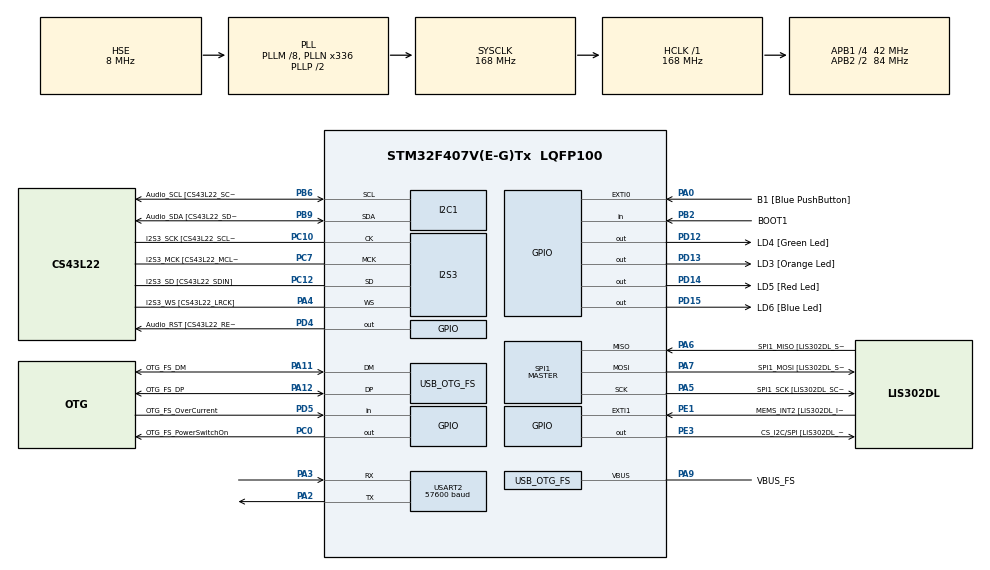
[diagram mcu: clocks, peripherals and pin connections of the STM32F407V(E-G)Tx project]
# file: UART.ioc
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I2S3.AudioFreq-Half_Duplex_Master=I2S_AUDIOFREQ_96K
I2S3.ErrorAudioFreq=-2.34 %
I2S3.ErrorAudioFreq-Half_Duplex_Master=0.8 %
I2S3.FullDuplexMode=I2S_FULLDUPLEXMODE_DISABLE
I2S3.Instance=SPI$Index
I2S3.RealAudioFreq=93.75 KHz
I2S3.RealAudioFreq-Half_Duplex_Master=96.774 KHz
I2S3.VirtualMode=I2S_MODE_MASTER
Mcu.Family=STM32F4
Mcu.Name=STM32F407V(E-G)Tx
Mcu.Package=LQFP100
NVIC.OTG_FS_IRQn=true\:0\:0\:false\:false\:true\:true\:true\:true
NVIC.PriorityGroup=NVIC_PRIORITYGROUP_0
NVIC.USART2_IRQn=true\:0\:0\:false\:false\:true\:true\:true\:true
PA0-WKUP.GPIO_Label=B1 [Blue PushButton]
PA0-WKUP.GPIO_ModeDefaultEXTI=GPIO_MODE_EVT_RISING
PA0-WKUP.GPIO_PuPd=GPIO_NOPULL
PA0-WKUP.Signal=GPXTI0
PA10.GPIO_Label=OTG_FS_ID
PA10.GPIO_Mode=GPIO_MODE_AF_PP
PA10.GPIO_PuPd=GPIO_NOPULL
PA10.GPIO_Speed=GPIO_SPEED_FREQ_LOW
PA10.Signal=USB_OTG_FS_ID
PA11.GPIO_Label=OTG_FS_DM
PA11.GPIO_Mode=GPIO_MODE_AF_PP
PA11.GPIO_PuPd=GPIO_NOPULL
PA11.GPIO_Speed=GPIO_SPEED_FREQ_LOW
PA11.Mode=Host_Only
PA11.Signal=USB_OTG_FS_DM
PA12.GPIO_Label=OTG_FS_DP
PA12.GPIO_Mode=GPIO_MODE_AF_PP
PA12.GPIO_PuPd=GPIO_NOPULL
PA12.GPIO_Speed=GPIO_SPEED_FREQ_LOW
PA12.Mode=Host_Only
PA12.Signal=USB_OTG_FS_DP
PA13.GPIO_Label=SWDIO
PA13.Mode=Serial_Wire
PA13.Signal=SYS_JTMS-SWDIO
PA14.GPIO_Label=SWCLK
PA14.Mode=Serial_Wire
PA14.Signal=SYS_JTCK-SWCLK
PA2.Mode=Asynchronous
PA2.Signal=USART2_TX
PA3.Mode=Asynchronous
PA3.Signal=USART2_RX
PA4.GPIO_Label=I2S3_WS [CS43L22_LRCK]
PA4.GPIO_Mode=GPIO_MODE_AF_PP
PA4.GPIO_PuPd=GPIO_NOPULL
PA4.GPIO_Speed=GPIO_SPEED_FREQ_LOW
PA4.Mode=Half_Duplex_Master
PA4.Signal=I2S3_WS
PA5.GPIO_Label=SPI1_SCK [LIS302DL_SCL/SPC]
PA5.GPIO_Mode=GPIO_MODE_AF_PP
PA5.GPIO_PuPd=GPIO_NOPULL
PA5.GPIO_Speed=GPIO_SPEED_FREQ_LOW
PA5.Mode=Full_Duplex_Master
PA5.Signal=SPI1_SCK
PA6.GPIO_Label=SPI1_MISO [LIS302DL_SDO]
PA6.GPIO_Mode=GPIO_MODE_AF_PP
PA6.GPIO_PuPd=GPIO_NOPULL
PA6.GPIO_Speed=GPIO_SPEED_FREQ_LOW
PA6.Mode=Full_Duplex_Master
PA6.Signal=SPI1_MISO
PA7.GPIO_Label=SPI1_MOSI [LIS302DL_SDA/SDI/SDO]
PA7.GPIO_Mode=GPIO_MODE_AF_PP
PA7.GPIO_PuPd=GPIO_NOPULL
PA7.GPIO_Speed=GPIO_SPEED_FREQ_LOW
PA7.Mode=Full_Duplex_Master
PA7.Signal=SPI1_MOSI
PA9.GPIO_Label=VBUS_FS
PA9.GPIO_Mode=GPIO_MODE_INPUT
PA9.GPIO_PuPd=GPIO_NOPULL
PA9.Mode=Activate_VBUS
PA9.Signal=USB_OTG_FS_VBUS
PB10.GPIO_Label=CLK_IN [MP45DT02_CLK]
PB10.GPIO_Mode=GPIO_MODE_AF_PP
PB10.GPIO_PuPd=GPIO_NOPULL
PB10.GPIO_Speed=GPIO_SPEED_FREQ_LOW
PB10.Signal=I2S2_CK
PB2.GPIO_Label=BOOT1
PB2.GPIO_Mode=GPIO_MODE_INPUT
PB2.GPIO_PuPd=GPIO_NOPULL
PB2.Signal=GPIO_Input
PB3.GPIO_Label=SWO
PB3.Signal=SYS_JTDO-SWO
PB6.GPIO_Label=Audio_SCL [CS43L22_SCL]
PB6.GPIO_Mode=GPIO_MODE_AF_OD
PB6.GPIO_Pu=GPIO_PULLUP
PB6.GPIO_PuPd=GPIO_NOPULL
PB6.GPIO_Speed=GPIO_SPEED_FREQ_LOW
PB6.Mode=I2C
PB6.Signal=I2C1_SCL
PB9.GPIO_Label=Audio_SDA [CS43L22_SDA]
PB9.GPIO_Mode=GPIO_MODE_AF_OD
PB9.GPIO_Pu=GPIO_PULLUP
PB9.GPIO_PuPd=GPIO_NOPULL
PB9.GPIO_Speed=GPIO_SPEED_FREQ_LOW
PB9.Mode=I2C
PB9.Signal=I2C1_SDA
PC0.GPIO_Label=OTG_FS_PowerSwitchOn
PC0.GPIO_PuPd=GPIO_NOPULL
PC0.GPIO_Speed=GPIO_SPEED_FREQ_LOW
PC0.PinState=GPIO_PIN_SET
PC0.Signal=GPIO_Output
PC10.GPIO_Label=I2S3_SCK [CS43L22_SCLK]
PC10.GPIO_Mode=GPIO_MODE_AF_PP
PC10.GPIO_PuPd=GPIO_NOPULL
PC10.GPIO_Speed=GPIO_SPEED_FREQ_LOW
PC10.Mode=Half_Duplex_Master
PC10.Signal=I2S3_CK
PC12.GPIO_Label=I2S3_SD [CS43L22_SDIN]
PC12.GPIO_Mode=GPIO_MODE_AF_PP
PC12.GPIO_PuPd=GPIO_NOPULL
PC12.GPIO_Speed=GPIO_SPEED_FREQ_LOW
PC12.Mode=Half_Duplex_Master
PC12.Signal=I2S3_SD
PC14-OSC32_IN.GPIO_Label=PC14-OSC32_IN
PC14-OSC32_IN.Mode=LSE-External-Oscillator
PC14-OSC32_IN.Signal=RCC_OSC32_IN
PC15-OSC32_OUT.GPIO_Label=PC15-OSC32_OUT
PC15-OSC32_OUT.Mode=LSE-External-Oscillator
PC15-OSC32_OUT.Signal=RCC_OSC32_OUT
PC3.GPIO_Label=PDM_OUT [MP45DT02_DOUT]
PC3.GPIO_Mode=GPIO_MODE_AF_PP
PC3.GPIO_PuPd=GPIO_NOPULL
PC3.GPIO_Speed=GPIO_SPEED_FREQ_LOW
PC3.Signal=I2S2_SD
PC7.GPIO_Label=I2S3_MCK [CS43L22_MCLK]
PC7.GPIO_Mode=GPIO_MODE_AF_PP
PC7.GPIO_PuPd=GPIO_NOPULL
PC7.GPIO_Speed=GPIO_SPEED_FREQ_LOW
PC7.Mode=Master_Clock_Activated
PC7.Signal=I2S3_MCK
PD12.GPIO_Label=LD4 [Green Led]
PD12.GPIO_PuPd=GPIO_NOPULL
PD12.GPIO_Speed=GPIO_SPEED_FREQ_LOW
PD12.Signal=GPIO_Output
PD13.GPIO_Label=LD3 [Orange Led]
PD13.GPIO_PuPd=GPIO_NOPULL
PD13.GPIO_Speed=GPIO_SPEED_FREQ_LOW
PD13.Signal=GPIO_Output
PD14.GPIO_Label=LD5 [Red Led]
PD14.GPIO_PuPd=GPIO_NOPULL
PD14.GPIO_Speed=GPIO_SPEED_FREQ_LOW
PD14.Signal=GPIO_Output
PD15.GPIO_Label=LD6 [Blue Led]
PD15.GPIO_PuPd=GPIO_NOPULL
PD15.GPIO_Speed=GPIO_SPEED_FREQ_LOW
PD15.Signal=GPIO_Output
PD4.GPIO_Label=Audio_RST [CS43L22_RESET]
PD4.GPIO_PuPd=GPIO_NOPULL
PD4.GPIO_Speed=GPIO_SPEED_FREQ_LOW
PD4.Signal=GPIO_Output
PD5.GPIO_Label=OTG_FS_OverCurrent
PD5.GPIO_Mode=GPIO_MODE_INPUT
PD5.GPIO_PuPd=GPIO_NOPULL
PD5.Signal=GPIO_Input
PE1.GPIO_Label=MEMS_INT2 [LIS302DL_INT2]
PE1.GPIO_ModeDefaultEXTI=GPIO_MODE_EVT_RISING
PE1.GPIO_PuPd=GPIO_NOPULL
PE1.Signal=GPXTI1
PE3.GPIO_Label=CS_I2C/SPI [LIS302DL_CS_I2C/SPI]
PE3.GPIO_PuPd=GPIO_NOPULL
PE3.GPIO_Speed=GPIO_SPEED_FREQ_LOW
PE3.Signal=GPIO_Output
PH0-OSC_IN.GPIO_Label=PH0-OSC_IN
PH0-OSC_IN.Mode=HSE-External-Oscillator
PH0-OSC_IN.Signal=RCC_OSC_IN
PH1-OSC_OUT.GPIO_Label=PH1-OSC_OUT
PH1-OSC_OUT.Mode=HSE-External-Oscillator
PH1-OSC_OUT.Signal=RCC_OSC_OUT
ProjectManager.HeapSize=0x200
ProjectManager.StackSize=0x400
ProjectManager.TargetToolchain=STM32CubeIDE
RCC.48MHZClocksFreq_Value=48000000
RCC.AHBFreq_Value=168000000
RCC.APB1CLKDivider=RCC_HCLK_DIV4
RCC.APB1Freq_Value=42000000
RCC.APB1TimFreq_Value=84000000
RCC.APB2CLKDivider=RCC_HCLK_DIV2
RCC.APB2Freq_Value=84000000
RCC.APB2TimFreq_Value=168000000
RCC.CortexFreq_Value=168000000
RCC.HCLKFreq_Value=168000000
RCC.HSE_VALUE=8000000
RCC.HSI_VALUE=16000000
RCC.PLLM=8
RCC.PLLN=336
RCC.PLLQ=7
RCC.SYSCLKFreq_VALUE=168000000
RCC.SYSCLKSource=RCC_SYSCLKSOURCE_PLLCLK
RCC.VCOOutputFreq_Value=336000000
SPI1.BaudRatePrescaler-Full_Duplex_Master=SPI_BAUDRATEPRESCALER_2
SPI1.CalculateBaudRate-Full_Duplex_Master=42.0 MBits/s
SPI1.Direction=SPI_DIRECTION_2LINES
SPI1.Mode=SPI_MODE_MASTER
SPI1.Mode-Full_Duplex_Master=SPI_MODE_MASTER
SPI1.VirtualType=VM_MASTER
USART2.BaudRate=57600
USART2.VirtualMode=VM_ASYNC
USB_HOST.BSP.number=1
USB_HOST.USBH_HandleTypeDef-CDC_FS=hUsbHostFS
USB_HOST.VirtualModeFS=Cdc
USB_HOST0.BSP.STBoard=false
USB_HOST0.BSP.api=Unknown
USB_HOST0.BSP.instance=PC0
USB_HOST0.BSP.ip=GPIO
USB_HOST0.BSP.mode=Output
USB_HOST0.BSP.name=Drive_VBUS_FS
USB_HOST0.BSP.solution=PC0
USB_OTG_FS.VirtualMode=Host_Only
USB_OTG_FS.phy_itface=HCD_PHY_EMBEDDED
VP_USB_HOST_VS_USB_HOST_CDC_FS.Mode=CDC_FS
board=STM32F407G-DISC1

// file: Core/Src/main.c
/* USER CODE BEGIN Header */
/**
  ******************************************************************************
  * @file           : main.c
  * @brief          : Main program body
  ******************************************************************************
  * @attention
  *
  * Copyright (c) 2025 STMicroelectronics.
  * All rights reserved.
  *
  * This software is licensed under terms that can be found in the LICENSE file
  * in the root directory of this software component.
  * If no LICENSE file comes with this software, it is provided AS-IS.
  *
  ******************************************************************************
  */
/* USER CODE END Header */

#include "main.h"
#include "usb_host.h"
#include "aes.h"
#include "SHA1.h"
#include "string.h"

/* USER CODE BEGIN PD */

uint8_t aes_key[16] = "BenimAESkey1234";

uint8_t mesajlar[3][16]={"FatihGizliVeri10","FatihGizliVeri20","GizliVeri300"};

uint8_t encrypted[16];

uint8_t decrypted[16];

uint8_t Transmit_Data[68];
uint8_t Receive_Data[68];

uint8_t sifreli_mesaj[48];
uint8_t sifresiz[48];

uint8_t output_hash[20];

uint8_t alinan_sifreli_mesaj[48];
uint8_t alinan_hash[20];
uint8_t cozulmus[48];
uint8_t hesaplanan_hash[20];

/* USER CODE END PD */

I2C_HandleTypeDef hi2c1;

I2S_HandleTypeDef hi2s3;

SPI_HandleTypeDef hspi1;

UART_HandleTypeDef huart2;

void SystemClock_Config(void);
static void MX_GPIO_Init(void);
static void MX_I2C1_Init(void);
static void MX_I2S3_Init(void);
static void MX_SPI1_Init(void);
static void MX_USART2_UART_Init(void);
void MX_USB_HOST_Process(void);

int main(void)
{

  /* MCU Configuration--------------------------------------------------------*/

  /* Reset of all peripherals, Initializes the Flash interface and the Systick. */
  HAL_Init();

  /* Configure the system clock */
  SystemClock_Config();

  /* Initialize all configured peripherals */
  MX_GPIO_Init();
  MX_I2C1_Init();
  MX_I2S3_Init();
  MX_SPI1_Init();
  MX_USB_HOST_Init();
  MX_USART2_UART_Init();
  /* USER CODE BEGIN 2 */

  // AES128

  struct AES_ctx ctx;
  AES_init_ctx(&ctx, aes_key);  // Key oluşturmamız lazım.

  for (int i = 0;  i < 3;  ++i)

  {
   // AES128
  	memcpy(encrypted, mesajlar[i], 16);
  	AES_ECB_encrypt(&ctx, encrypted);
  	memcpy(sifreli_mesaj + (16*i),encrypted,16);
	}

 // Veriyi Şifreliyoruz.
//  memcpy(encrypted, mesaj, 16);
//  AES_ECB_encrypt(&ctx, encrypted);
//
//  memcpy(decrypted, encrypted, 16);
//  AES_ECB_decrypt(&ctx, decrypted);

  // SHA1

  SHA_CTX atx;

  SHA1_Init(&atx);
  SHA1_Update(&atx, sifreli_mesaj, 48);
  SHA1_Final(output_hash, &atx);

  // UART İle gönderme
  memcpy(Transmit_Data,sifreli_mesaj,48);
  memcpy(Transmit_Data +48,output_hash,20); //68 byte Transmit Data
  HAL_UART_Transmit_IT(&huart2, Transmit_Data, 68);
  HAL_UART_Receive_IT(&huart2, Receive_Data, 68);

//  // Şifreyi Çözme
//   for (int i = 0;  i < 3;  ++i)
//
//   {
//    // AES128
//   	memcpy(decrypted, sifreli_mesaj + (16*i), 16);
//   	AES_ECB_decrypt(&ctx, decrypted);
//   	memcpy(sifresiz + (16*i),decrypted,16);
// 	}

//  HAL_UART_Transmit_IT(&huart2, Transmit_Data, 68);
//  HAL_UART_Transmit_IT(&huart2, sifreli_mesaj, 48);
//  HAL_UART_Transmit_IT(&huart2, output_hash, 20);
  /* USER CODE END 2 */

  /* Infinite loop */
  while (1)
  {
    MX_USB_HOST_Process();

  }
}

void SystemClock_Config(void)
{
  RCC_OscInitTypeDef RCC_OscInitStruct = {0};
  RCC_ClkInitTypeDef RCC_ClkInitStruct = {0};

  /** Configure the main internal regulator output voltage
  */
  __HAL_RCC_PWR_CLK_ENABLE();
  __HAL_PWR_VOLTAGESCALING_CONFIG(PWR_REGULATOR_VOLTAGE_SCALE1);

  /** Initializes the RCC Oscillators according to the specified parameters
  * in the RCC_OscInitTypeDef structure.
  */
  RCC_OscInitStruct.OscillatorType = RCC_OSCILLATORTYPE_HSE;
  RCC_OscInitStruct.HSEState = RCC_HSE_ON;
  RCC_OscInitStruct.PLL.PLLState = RCC_PLL_ON;
  RCC_OscInitStruct.PLL.PLLSource = RCC_PLLSOURCE_HSE;
  RCC_OscInitStruct.PLL.PLLM = 8;
  RCC_OscInitStruct.PLL.PLLN = 336;
  RCC_OscInitStruct.PLL.PLLP = RCC_PLLP_DIV2;
  RCC_OscInitStruct.PLL.PLLQ = 7;
  if (HAL_RCC_OscConfig(&RCC_OscInitStruct) != HAL_OK)
  {
    Error_Handler();
  }

  /** Initializes the CPU, AHB and APB buses clocks
  */
  RCC_ClkInitStruct.ClockType = RCC_CLOCKTYPE_HCLK|RCC_CLOCKTYPE_SYSCLK
                              |RCC_CLOCKTYPE_PCLK1|RCC_CLOCKTYPE_PCLK2;
  RCC_ClkInitStruct.SYSCLKSource = RCC_SYSCLKSOURCE_PLLCLK;
  RCC_ClkInitStruct.AHBCLKDivider = RCC_SYSCLK_DIV1;
  RCC_ClkInitStruct.APB1CLKDivider = RCC_HCLK_DIV4;
  RCC_ClkInitStruct.APB2CLKDivider = RCC_HCLK_DIV2;

  if (HAL_RCC_ClockConfig(&RCC_ClkInitStruct, FLASH_LATENCY_5) != HAL_OK)
  {
    Error_Handler();
  }
}

static void MX_I2C1_Init(void)
{

  hi2c1.Instance = I2C1;
  hi2c1.Init.ClockSpeed = 100000;
  hi2c1.Init.DutyCycle = I2C_DUTYCYCLE_2;
  hi2c1.Init.OwnAddress1 = 0;
  hi2c1.Init.AddressingMode = I2C_ADDRESSINGMODE_7BIT;
  hi2c1.Init.DualAddressMode = I2C_DUALADDRESS_DISABLE;
  hi2c1.Init.OwnAddress2 = 0;
  hi2c1.Init.GeneralCallMode = I2C_GENERALCALL_DISABLE;
  hi2c1.Init.NoStretchMode = I2C_NOSTRETCH_DISABLE;
  if (HAL_I2C_Init(&hi2c1) != HAL_OK)
  {
    Error_Handler();
  }

}

static void MX_I2S3_Init(void)
{

  hi2s3.Instance = SPI3;
  hi2s3.Init.Mode = I2S_MODE_MASTER_TX;
  hi2s3.Init.Standard = I2S_STANDARD_PHILIPS;
  hi2s3.Init.DataFormat = I2S_DATAFORMAT_16B;
  hi2s3.Init.MCLKOutput = I2S_MCLKOUTPUT_ENABLE;
  hi2s3.Init.AudioFreq = I2S_AUDIOFREQ_96K;
  hi2s3.Init.CPOL = I2S_CPOL_LOW;
  hi2s3.Init.ClockSource = I2S_CLOCK_PLL;
  hi2s3.Init.FullDuplexMode = I2S_FULLDUPLEXMODE_DISABLE;
  if (HAL_I2S_Init(&hi2s3) != HAL_OK)
  {
    Error_Handler();
  }

}

static void MX_SPI1_Init(void)
{

  /* SPI1 parameter configuration*/
  hspi1.Instance = SPI1;
  hspi1.Init.Mode = SPI_MODE_MASTER;
  hspi1.Init.Direction = SPI_DIRECTION_2LINES;
  hspi1.Init.DataSize = SPI_DATASIZE_8BIT;
  hspi1.Init.CLKPolarity = SPI_POLARITY_LOW;
  hspi1.Init.CLKPhase = SPI_PHASE_1EDGE;
  hspi1.Init.NSS = SPI_NSS_SOFT;
  hspi1.Init.BaudRatePrescaler = SPI_BAUDRATEPRESCALER_2;
  hspi1.Init.FirstBit = SPI_FIRSTBIT_MSB;
  hspi1.Init.TIMode = SPI_TIMODE_DISABLE;
  hspi1.Init.CRCCalculation = SPI_CRCCALCULATION_DISABLE;
  hspi1.Init.CRCPolynomial = 10;
  if (HAL_SPI_Init(&hspi1) != HAL_OK)
  {
    Error_Handler();
  }

}

static void MX_USART2_UART_Init(void)
{

  huart2.Instance = USART2;
  huart2.Init.BaudRate = 57600;
  huart2.Init.WordLength = UART_WORDLENGTH_8B;
  huart2.Init.StopBits = UART_STOPBITS_1;
  huart2.Init.Parity = UART_PARITY_NONE;
  huart2.Init.Mode = UART_MODE_TX_RX;
  huart2.Init.HwFlowCtl = UART_HWCONTROL_NONE;
  huart2.Init.OverSampling = UART_OVERSAMPLING_16;
  if (HAL_UART_Init(&huart2) != HAL_OK)
  {
    Error_Handler();
  }

}

static void MX_GPIO_Init(void)
{
  GPIO_InitTypeDef GPIO_InitStruct = {0};

  /* GPIO Ports Clock Enable */
  __HAL_RCC_GPIOE_CLK_ENABLE();
  __HAL_RCC_GPIOC_CLK_ENABLE();
  __HAL_RCC_GPIOH_CLK_ENABLE();
  __HAL_RCC_GPIOA_CLK_ENABLE();
  __HAL_RCC_GPIOB_CLK_ENABLE();
  __HAL_RCC_GPIOD_CLK_ENABLE();

  /*Configure GPIO pin Output Level */
  HAL_GPIO_WritePin(CS_I2C_SPI_GPIO_Port, CS_I2C_SPI_Pin, GPIO_PIN_RESET);

  /*Configure GPIO pin Output Level */
  HAL_GPIO_WritePin(OTG_FS_PowerSwitchOn_GPIO_Port, OTG_FS_PowerSwitchOn_Pin, GPIO_PIN_SET);

  /*Configure GPIO pin Output Level */
  HAL_GPIO_WritePin(GPIOD, LD4_Pin|LD3_Pin|LD5_Pin|LD6_Pin
                          |Audio_RST_Pin, GPIO_PIN_RESET);

  /*Configure GPIO pin : CS_I2C_SPI_Pin */
  GPIO_InitStruct.Pin = CS_I2C_SPI_Pin;
  GPIO_InitStruct.Mode = GPIO_MODE_OUTPUT_PP;
  GPIO_InitStruct.Pull = GPIO_NOPULL;
  GPIO_InitStruct.Speed = GPIO_SPEED_FREQ_LOW;
  HAL_GPIO_Init(CS_I2C_SPI_GPIO_Port, &GPIO_InitStruct);

  /*Configure GPIO pin : OTG_FS_PowerSwitchOn_Pin */
  GPIO_InitStruct.Pin = OTG_FS_PowerSwitchOn_Pin;
  GPIO_InitStruct.Mode = GPIO_MODE_OUTPUT_PP;
  GPIO_InitStruct.Pull = GPIO_NOPULL;
  GPIO_InitStruct.Speed = GPIO_SPEED_FREQ_LOW;
  HAL_GPIO_Init(OTG_FS_PowerSwitchOn_GPIO_Port, &GPIO_InitStruct);

  /*Configure GPIO pin : PDM_OUT_Pin */
  GPIO_InitStruct.Pin = PDM_OUT_Pin;
  GPIO_InitStruct.Mode = GPIO_MODE_AF_PP;
  GPIO_InitStruct.Pull = GPIO_NOPULL;
  GPIO_InitStruct.Speed = GPIO_SPEED_FREQ_LOW;
  GPIO_InitStruct.Alternate = GPIO_AF5_SPI2;
  HAL_GPIO_Init(PDM_OUT_GPIO_Port, &GPIO_InitStruct);

  /*Configure GPIO pin : B1_Pin */
  GPIO_InitStruct.Pin = B1_Pin;
  GPIO_InitStruct.Mode = GPIO_MODE_EVT_RISING;
  GPIO_InitStruct.Pull = GPIO_NOPULL;
  HAL_GPIO_Init(B1_GPIO_Port, &GPIO_InitStruct);

  /*Configure GPIO pin : BOOT1_Pin */
  GPIO_InitStruct.Pin = BOOT1_Pin;
  GPIO_InitStruct.Mode = GPIO_MODE_INPUT;
  GPIO_InitStruct.Pull = GPIO_NOPULL;
  HAL_GPIO_Init(BOOT1_GPIO_Port, &GPIO_InitStruct);

  /*Configure GPIO pin : CLK_IN_Pin */
  GPIO_InitStruct.Pin = CLK_IN_Pin;
  GPIO_InitStruct.Mode = GPIO_MODE_AF_PP;
  GPIO_InitStruct.Pull = GPIO_NOPULL;
  GPIO_InitStruct.Speed = GPIO_SPEED_FREQ_LOW;
  GPIO_InitStruct.Alternate = GPIO_AF5_SPI2;
  HAL_GPIO_Init(CLK_IN_GPIO_Port, &GPIO_InitStruct);

  /*Configure GPIO pins : LD4_Pin LD3_Pin LD5_Pin LD6_Pin
                           Audio_RST_Pin */
  GPIO_InitStruct.Pin = LD4_Pin|LD3_Pin|LD5_Pin|LD6_Pin
                          |Audio_RST_Pin;
  GPIO_InitStruct.Mode = GPIO_MODE_OUTPUT_PP;
  GPIO_InitStruct.Pull = GPIO_NOPULL;
  GPIO_InitStruct.Speed = GPIO_SPEED_FREQ_LOW;
  HAL_GPIO_Init(GPIOD, &GPIO_InitStruct);

  /*Configure GPIO pin : OTG_FS_OverCurrent_Pin */
  GPIO_InitStruct.Pin = OTG_FS_OverCurrent_Pin;
  GPIO_InitStruct.Mode = GPIO_MODE_INPUT;
  GPIO_InitStruct.Pull = GPIO_NOPULL;
  HAL_GPIO_Init(OTG_FS_OverCurrent_GPIO_Port, &GPIO_InitStruct);

  /*Configure GPIO pin : MEMS_INT2_Pin */
  GPIO_InitStruct.Pin = MEMS_INT2_Pin;
  GPIO_InitStruct.Mode = GPIO_MODE_EVT_RISING;
  GPIO_InitStruct.Pull = GPIO_NOPULL;
  HAL_GPIO_Init(MEMS_INT2_GPIO_Port, &GPIO_InitStruct);

}

/* USER CODE BEGIN 4 */

void HAL_UART_RxCpltCallback(UART_HandleTypeDef *huart) {
  if (huart == &huart2) {

    SHA_CTX ctx_sha;

    // Gelen veri
    memcpy(alinan_sifreli_mesaj, Receive_Data, 48);
    memcpy(alinan_hash, Receive_Data + 48, 20);

    SHA1_Init(&ctx_sha);
    SHA1_Update(&ctx_sha, alinan_sifreli_mesaj, 48);
    SHA1_Final(hesaplanan_hash, &ctx_sha);

    if (memcmp(hesaplanan_hash, alinan_hash, 20) == 0) {

      struct AES_ctx ctx;
      AES_init_ctx(&ctx, aes_key);

      for (int i = 0; i < 3; ++i) {
        AES_ECB_decrypt(&ctx, alinan_sifreli_mesaj + 16 * i);
        memcpy(cozulmus + 16 * i, alinan_sifreli_mesaj + 16 * i, 16);
      }

      HAL_UART_Transmit_IT(&huart2, cozulmus, 48);
    }

    else{

    	const char *hata ="Hashler uyusmuyor\n\r";
    	HAL_UART_Transmit_IT(&huart2, hata,strlen(hata));

    }

    HAL_UART_Receive_IT(&huart2, Receive_Data, 68);
  }
}

/* USER CODE END 4 */

void Error_Handler(void)
{
  __disable_irq();
  while (1)
  {
  }
}
